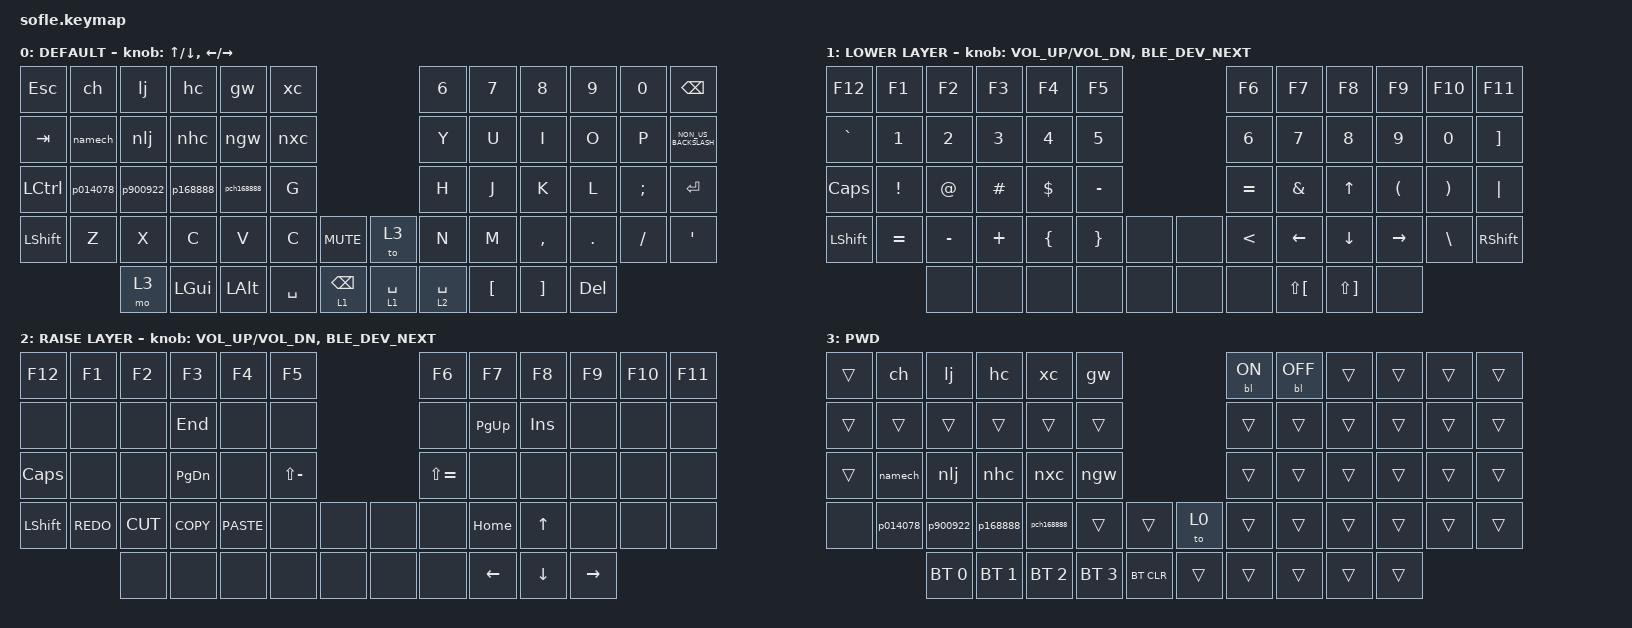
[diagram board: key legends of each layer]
/*
 * Copyright (c) 2020 The ZMK Contributors
 *
 * SPDX-License-Identifier: MIT
 */

#include <behaviors.dtsi>
#include <dt-bindings/zmk/backlight.h>
#include <dt-bindings/zmk/bt.h>
#include <dt-bindings/zmk/keys.h>

#define BASE 0
#define LOWER 1
#define RAISE 2
#define ADJUST 3

/ {
    // Activate ADJUST layer by pressing raise and lower

    conditional_layers { compatible = "zmk,conditional-layers"; };

    behaviors {
        BLE_DEV_NEXT: BLE_DEV_NEXT {
            compatible = "zmk,behavior-sensor-rotate";
            label = "BLE_DEV_NEXT";
            #sensor-binding-cells = <0>;
            bindings = <&bt BT_PRV>, <&bt BT_NXT>;
        };

        LAYER_3: LAYER_3 {
            compatible = "zmk,behavior-sensor-rotate";
            label = "LAYER_3";
            #sensor-binding-cells = <0>;
            bindings = <&to 0>, <&to 0>;
        };
    };

    macros {
        ch: ch {
            compatible = "zmk,behavior-macro";
            #binding-cells = <0>;
            bindings = <&kp TAB &kp N0 &kp N0 &kp N8 &kp TAB &kp N0 &kp N0 &kp N0 &kp N0 &kp N1 &kp N1 &kp ENTER &kp ENTER>;
            label = "CH";
        };

        lj: lj {
            compatible = "zmk,behavior-macro";
            #binding-cells = <0>;
            bindings = <&kp TAB &kp N0 &kp N0 &kp N8 &kp TAB &kp N0 &kp N0 &kp N0 &kp N0 &kp N2 &kp N2 &kp ENTER &kp ENTER>;
            label = "LJ";
        };

        hc: hc {
            compatible = "zmk,behavior-macro";
            #binding-cells = <0>;
            bindings = <&kp TAB &kp N0 &kp N0 &kp N8 &kp TAB &kp N0 &kp N0 &kp N0 &kp N0 &kp N3 &kp N3 &kp ENTER &kp ENTER>;
            label = "HC";
        };

        xc: xc {
            compatible = "zmk,behavior-macro";
            #binding-cells = <0>;
            bindings = <&kp TAB &kp N0 &kp N0 &kp N6 &kp TAB &kp N0 &kp N0 &kp N0 &kp N0 &kp N4 &kp N4 &kp ENTER &kp ENTER>;
            label = "XC";
        };

        gw: gw {
            compatible = "zmk,behavior-macro";
            #binding-cells = <0>;
            bindings = <&kp TAB &kp N0 &kp N0 &kp N6 &kp TAB &kp N0 &kp N0 &kp N0 &kp N0 &kp N5 &kp N5 &kp ENTER &kp ENTER>;
            label = "GW";
        };

        namech: namech {
            compatible = "zmk,behavior-macro";
            #binding-cells = <0>;
            bindings = <&kp C &kp H>;
            label = "NAMECH";
        };

        nlj: nlj {
            compatible = "zmk,behavior-macro";
            #binding-cells = <0>;
            bindings = <&kp L &kp J>;
            label = "NLJ";
        };

        nhc: nhc {
            compatible = "zmk,behavior-macro";
            #binding-cells = <0>;
            bindings = <&kp H &kp C>;
            label = "NHC";
        };

        nxc: nxc {
            compatible = "zmk,behavior-macro";
            #binding-cells = <0>;
            bindings = <&kp X &kp C>;
            label = "NXC";
        };

        ngw: ngw {
            compatible = "zmk,behavior-macro";
            #binding-cells = <0>;
            bindings = <&kp G &kp W>;
            label = "NGW";
        };

        p014078: p014078 {
            compatible = "zmk,behavior-macro";
            #binding-cells = <0>;
            bindings = <&kp N0 &kp N1 &kp N4 &kp N0 &kp N7 &kp N8 &kp RET>;
            label = "P014078";
        };

        p900922: p900922 {
            compatible = "zmk,behavior-macro";
            #binding-cells = <0>;
            bindings = <&kp N9 &kp N0 &kp N0 &kp N9 &kp N2 &kp N2 &kp RET>;
            label = "P900922";
        };

        p168888: p168888 {
            compatible = "zmk,behavior-macro";
            #binding-cells = <0>;
            bindings = <&kp N1 &kp N6 &kp N8 &kp N8 &kp N8 &kp N8 &kp RET>;
            label = "P168888";
        };

        pch168888: pch168888 {
            compatible = "zmk,behavior-macro";
            #binding-cells = <0>;
            bindings = <&kp C &kp H &kp N1 &kp N6 &kp N8 &kp N8 &kp N8 &kp N8 &kp RET>;
            label = "PCH168888";
        };
    };

    combos {
        compatible = "zmk,combos";

        printscreen {
            bindings = <&kp LC(PRINTSCREEN)>;
            key-positions = <13 14>;
        };
    };

    keymap {
        compatible = "zmk,keymap";

        default_layer {
            // ------------------------------------------------------------------------------------------------------------
            // |   `   |  1  |  2  |  3   |  4   |  5   |                   |  6   |  7    |  8    |  9   |   0   |       |
            // |  ESC  |  Q  |  W  |  E   |  R   |  T   |                   |  Y   |  U    |  I    |  O   |   P   | BKSPC |
            // |  TAB  |  A  |  S  |  D   |  F   |  G   |                   |  H   |  J    |  K    |  L   |   ;   |   '   |
            // | SHIFT |  Z  |  X  |  C   |  V   |  B   |  MUTE  |  |       |  N   |  M    |  ,    |  .   |   /   | SHIFT |
            //               | GUI | ALT  | CTRL | LOWER|  ENTER |  | SPACE | RAISE| CTRL  | ALT   | GUI  |

            bindings = <
&kp ESC    &ch       &lj       &hc       &gw           &xc                                        &kp N6       &kp N7            &kp N8             &kp N9   &kp N0    &kp BSPC
&kp TAB    &namech   &nlj      &nhc      &ngw          &nxc                                       &kp Y        &kp U             &kp I              &kp O    &kp P     &kp NON_US_BACKSLASH
&kp LCTRL  &p014078  &p900922  &p168888  &pch168888    &kp G                                      &kp H        &kp J             &kp K              &kp L    &kp SEMI  &kp RET
&kp LSHFT  &kp Z     &kp X     &kp C     &kp V         &kp C      &kp C_MUTE         &to 3        &kp N        &kp M             &kp COMMA          &kp DOT  &kp FSLH  &kp SQT
                     &mo 3     &kp LGUI  &kp LEFT_ALT  &kp SPACE  &lt 1 BACKSPACE    &lt 1 SPACE  &lt 2 SPACE  &kp LEFT_BRACKET  &kp RIGHT_BRACKET  &kp DEL
            >;

            sensor-bindings = <&inc_dec_kp UP DOWN>, <&inc_dec_kp LEFT RIGHT>;

            label = "DEFAULT";
        };

        lower_layer {
            // TODO: Some binds are waiting for shifted keycode support.
            // ------------------------------------------------------------------------------------------------------------
            // |       |  F1 |  F2 |  F3  |  F4  |  F5  |                   |  F6  |  F7   |  F8   |  F9  |  F10  |  F11  |
            // |   `   |  1  |  2  |  3   |  4   |  5   |                   |  6   |  7    |  8    |  9   |   0   |  F12  |
            // |       |  !  |  @  |  #   |  $   |  %   |                   |  ^   |  &    |  *    |  (   |   )   |   |   |
            // |       |  =  |  -  |  +   |  {   |  }   |        |  |       |  [   |  ]    |  ;    |  :   |   \   |       |
            //               |     |      |      |      |        |  |       |      |       |       |      |

            bindings = <
&kp F12         &kp F1     &kp F2     &kp F3    &kp F4    &kp F5                     &kp F6         &kp F7                &kp F8                 &kp F9           &kp F10   &kp F11
&kp GRAVE       &kp N1     &kp N2     &kp N3    &kp N4    &kp N5                     &kp N6         &kp N7                &kp N8                 &kp N9           &kp N0    &kp RBKT
&kp CAPS        &kp EXCL   &kp AT     &kp HASH  &kp DLLR  &kp MINUS                  &kp EQUAL      &kp AMPS              &kp UP_ARROW           &kp LPAR         &kp RPAR  &kp PIPE
&kp LEFT_SHIFT  &kp EQUAL  &kp MINUS  &kp PLUS  &kp LBRC  &kp RBRC   &none    &none  &kp LESS_THAN  &kp LEFT_ARROW        &kp DOWN_ARROW         &kp RIGHT_ARROW  &kp BSLH  &kp RIGHT_SHIFT
                           &none      &none     &none     &none      &none    &none  &none          &kp LS(LEFT_BRACKET)  &kp LS(RIGHT_BRACKET)  &none
            >;

            sensor-bindings = <&inc_dec_kp C_VOL_UP C_VOL_DN>, <&BLE_DEV_NEXT>;

            label = "LOWER LAYER";
        };

        raise_layer {
            // ------------------------------------------------------------------------------------------------------------
            // | BTCLR | BT1  | BT2  |  BT3  |  BT4  |  BT5 |                |      |      |       |      |       |       |
            // |       | INS  | PSCR | GUI   |       |      |                | PGUP |      |   ^   |      |       |       |
            // |       | ALT  | CTRL | SHIFT |       | CAPS |                | PGDN |   <- |   v   |  ->  |  DEL  | BKSPC |
            // |       | UNDO | CUT  | COPY  | PASTE |      |      |  |      |      |      |       |      |       |       |
            //                |      |       |       |      |      |  |      |      |      |       |      |

            bindings = <
&kp F12         &kp F1      &kp F2     &kp F3      &kp F4       &kp F5                         &kp F6         &kp F7     &kp F8      &kp F9     &kp F10  &kp F11
&none           &none       &none      &kp END     &none        &none                          &none          &kp PG_UP  &kp INSERT  &none      &none    &none
&kp CAPSLOCK    &none       &none      &kp PG_DN   &none        &kp LS(MINUS)                  &kp LS(EQUAL)  &none      &none       &none      &none    &none
&kp LEFT_SHIFT  &kp K_REDO  &kp K_CUT  &kp K_COPY  &kp K_PASTE  &none          &none    &none  &none          &kp HOME   &kp UP      &none      &none    &none
                            &none      &none       &none        &none          &none    &none  &none          &kp LEFT   &kp DOWN    &kp RIGHT
            >;

            sensor-bindings = <&inc_dec_kp C_VOL_UP C_VOL_DN>, <&BLE_DEV_NEXT>;

            label = "RAISE LAYER";
        };

        PWD_LAYER {
            bindings = <
&trans  &ch       &lj           &hc           &xc           &gw                                 &bl BL_ON  &bl BL_OFF  &trans  &trans  &trans  &trans
&trans  &trans    &trans        &trans        &trans        &trans                              &trans     &trans      &trans  &trans  &trans  &trans
&trans  &namech   &nlj          &nhc          &nxc          &ngw                                &trans     &trans      &trans  &trans  &trans  &trans
&none   &p014078  &p900922      &p168888      &pch168888    &trans        &trans        &to 0   &trans     &trans      &trans  &trans  &trans  &trans
                  &bt BT_SEL 0  &bt BT_SEL 1  &bt BT_SEL 2  &bt BT_SEL 3  &bt BT_CLR    &trans  &trans     &trans      &trans  &trans
            >;

            label = "PWD";
        };
    };
};
